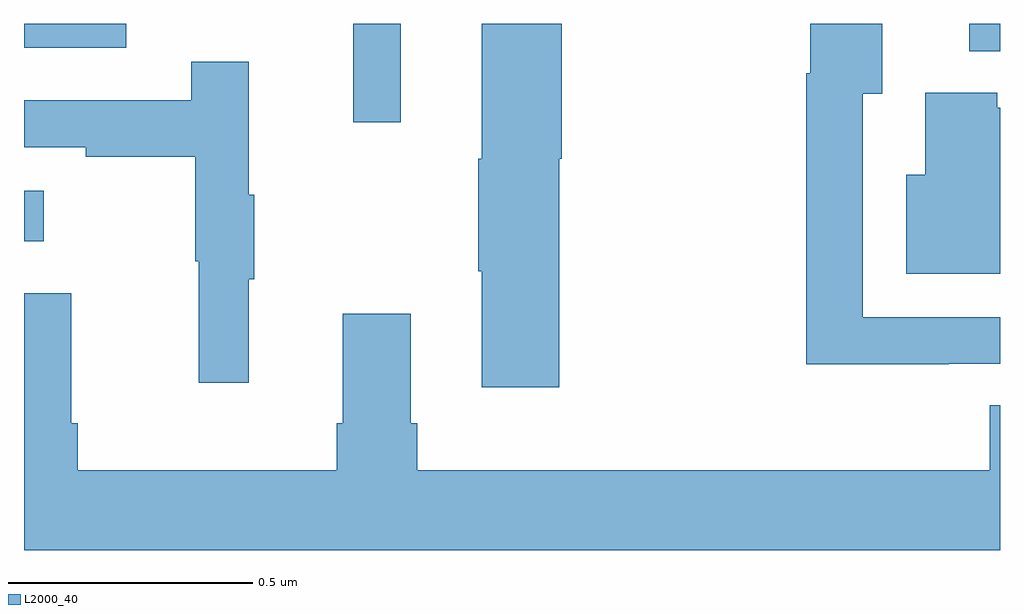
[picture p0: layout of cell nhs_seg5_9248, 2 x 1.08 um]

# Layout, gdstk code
import gdstk
lib = gdstk.Library(unit=1e-6, precision=1e-09)
def R(c, l, rs):  # rectangles x0, y0, x1, y1
    for r in rs: c.add(gdstk.rectangle(r[:2], r[2:], *l))
def P(c, l, *ps):  # polygons
    for p in ps: c.add(gdstk.Polygon(p, *l))
L2000_40 = (2000, 40)

nhs_seg5_9248 = lib.new_cell('nhs_seg5_9248')
R(nhs_seg5_9248, L2000_40, [(231,897.353,231.04,897.457), (231.675,897.597,231.772,897.799), (232.937,897.743,233,897.799), (231,897.75,231.21,897.799)])
P(nhs_seg5_9248, L2000_40, [(232.895,897.102),(233,897.102),(233,897.198),(232.719,897.198),(232.719,897.655),(232.759,897.655),(232.759,897.799),(232.611,897.799),(232.611,897.698),(232.603,897.698),(232.603,897.101),(232.895,897.101)],
  [(232.097,897.522),(232.102,897.522),(232.102,897.799),(231.938,897.799),(231.938,897.522),(231.931,897.522),(231.931,897.292),(231.938,897.292),(231.938,897.054),(232.097,897.054)],
  [(231.461,897.275),(231.472,897.275),(231.472,897.449),(231.461,897.449),(231.461,897.721),(231.343,897.721),(231.343,897.642),(231,897.642),(231,897.546),(231.127,897.546),(231.127,897.526),(231.351,897.526),(231.351,897.312),(231.358,897.312),(231.358,897.063),(231.461,897.063)],
  [(233,897.627),(232.994,897.627),(232.994,897.658),(232.847,897.658),(232.847,897.49),(232.808,897.49),(232.808,897.287),(233,897.287)],
  [(233,897.017),(232.979,897.017),(232.979,896.884),(231.806,896.884),(231.806,896.98),(231.793,896.98),(231.793,897.205),(231.653,897.205),(231.653,896.98),(231.641,896.98),(231.641,896.884),(231.11,896.884),(231.11,896.98),(231.097,896.98),(231.097,897.247),(231,897.247),(231,896.72),(233,896.72)])

lib.write_gds('nhs_seg5_9248.gds')
